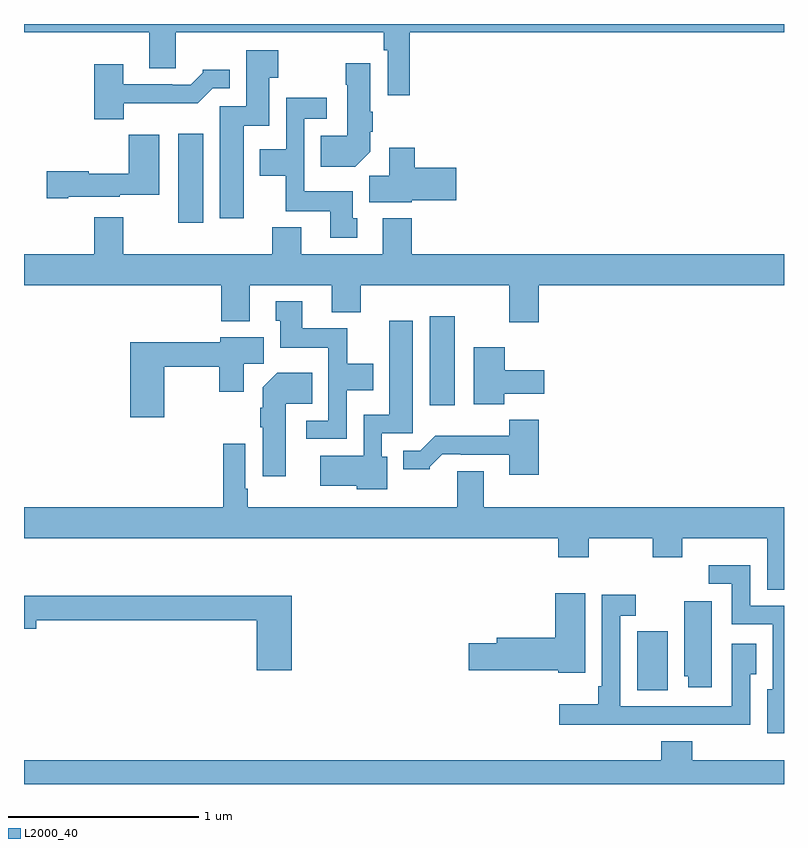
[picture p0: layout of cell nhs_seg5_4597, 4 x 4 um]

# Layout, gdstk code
import gdstk
lib = gdstk.Library(unit=1e-6, precision=1e-09)
def R(c, l, rs):  # rectangles x0, y0, x1, y1
    for r in rs: c.add(gdstk.rectangle(r[:2], r[2:], *l))
def P(c, l, *ps):  # polygons
    for p in ps: c.add(gdstk.Polygon(p, *l))
L2000_40 = (2000, 40)

nhs_seg5_4597 = lib.new_cell('nhs_seg5_4597')
R(nhs_seg5_4597, L2000_40, [(384.227,857.293,384.388,857.604), (383.135,858.792,383.266,859.261), (381.812,859.752,381.943,860.221)])
P(nhs_seg5_4597, L2000_40, [(383.03,860.756),(385,860.756),(385,860.799),(381,860.799),(381,860.756),(381.659,860.756),(381.659,860.566),(381.799,860.566),(381.799,860.756),(382.894,860.756),(382.894,860.66),(382.914,860.66),(382.914,860.424),(383.03,860.424)],
  [(382.156,860.264),(382.291,860.264),(382.291,860.515),(382.338,860.515),(382.338,860.662),(382.169,860.662),(382.169,860.367),(382.031,860.367),(382.031,859.776),(382.156,859.776)],
  [(382.822,860.126),(382.822,860.233),(382.835,860.233),(382.835,860.336),(382.822,860.336),(382.822,860.593),(382.693,860.593),(382.693,860.48),(382.7,860.48),(382.7,860.212),(382.561,860.212),(382.561,860.048),(382.744,860.048)],
  [(381.526,860.382),(381.915,860.382),(381.993,860.46),(382.084,860.46),(382.084,860.557),(381.942,860.557),(381.942,860.542),(381.878,860.478),(381.779,860.478),(381.779,860.481),(381.523,860.481),(381.523,860.587),(381.371,860.587),(381.371,860.297),(381.526,860.297)],
  [(382.753,859.776),(382.729,859.776),(382.729,859.918),(382.476,859.918),(382.476,860.301),(382.594,860.301),(382.594,860.41),(382.38,860.41),(382.38,860.14),(382.241,860.14),(382.241,860),(382.378,860),(382.378,859.814),(382.613,859.814),(382.613,859.674),(382.753,859.674)],
  [(381.232,859.889),(381.504,859.889),(381.504,859.901),(381.712,859.901),(381.712,860.215),(381.55,860.215),(381.55,860.011),(381.342,860.011),(381.342,860.024),(381.12,860.024),(381.12,859.882),(381.232,859.882)],
  [(383.04,859.871),(383.275,859.871),(383.275,860.042),(383.057,860.042),(383.057,860.149),(382.922,860.149),(382.922,860),(382.817,860),(382.817,859.862),(383.04,859.862)],
  [(383.708,859.424),(385,859.424),(385,859.588),(383.042,859.588),(383.042,859.777),(382.889,859.777),(382.889,859.588),(382.459,859.588),(382.459,859.729),(382.307,859.729),(382.307,859.588),(381.523,859.588),(381.523,859.783),(381.371,859.783),(381.371,859.588),(381,859.588),(381,859.424),(382.037,859.424),(382.037,859.235),(382.189,859.235),(382.189,859.424),(382.619,859.424),(382.619,859.283),(382.772,859.283),(382.772,859.424),(383.555,859.424),(383.555,859.23),(383.708,859.23)],
  [(382.698,858.872),(382.837,858.872),(382.837,859.012),(382.701,859.012),(382.701,859.198),(382.465,859.198),(382.465,859.339),(382.325,859.339),(382.325,859.236),(382.349,859.236),(382.349,859.094),(382.602,859.094),(382.602,858.711),(382.485,858.711),(382.485,858.615),(382.698,858.615)],
  [(382.912,858.522),(382.884,858.522),(382.884,858.645),(383.047,858.645),(383.047,859.237),(382.922,859.237),(382.922,858.742),(382.788,858.742),(382.788,858.526),(382.56,858.526),(382.56,858.368),(382.752,858.368),(382.752,858.35),(382.912,858.35)],
  [(381.738,858.994),(382.027,858.994),(382.027,858.864),(382.156,858.864),(382.156,859.012),(382.261,859.012),(382.261,859.15),(382.034,859.15),(382.034,859.123),(381.56,859.123),(381.56,858.729),(381.738,858.729)],
  [(383.528,858.854),(383.737,858.854),(383.737,858.976),(383.53,858.976),(383.53,859.099),(383.366,859.099),(383.366,858.797),(383.528,858.797)],
  [(382.378,858.8),(382.517,858.8),(382.517,858.964),(382.334,858.964),(382.256,858.886),(382.256,858.779),(382.244,858.779),(382.244,858.676),(382.256,858.676),(382.256,858.42),(382.378,858.42)],
  [(383.708,858.715),(383.553,858.715),(383.553,858.631),(383.164,858.631),(383.085,858.552),(382.997,858.552),(382.997,858.455),(383.136,858.455),(383.136,858.47),(383.2,858.534),(383.299,858.534),(383.299,858.531),(383.555,858.531),(383.555,858.426),(383.708,858.426)],
  [(385,858.256),(383.419,858.256),(383.419,858.446),(383.279,858.446),(383.279,858.256),(382.177,858.256),(382.177,858.352),(382.164,858.352),(382.164,858.589),(382.048,858.589),(382.048,858.256),(381,858.256),(381,858.092),(383.813,858.092),(383.813,857.993),(383.973,857.993),(383.973,858.092),(384.31,858.092),(384.31,857.993),(384.465,857.993),(384.465,858.092),(384.911,858.092),(384.911,857.821),(385,857.821)],
  [(385,857.736),(384.822,857.736),(384.822,857.95),(384.603,857.95),(384.603,857.853),(384.726,857.853),(384.726,857.64),(384.941,857.64),(384.941,857.299),(384.911,857.299),(384.911,857.067),(385,857.067)],
  [(383.953,857.803),(383.795,857.803),(383.795,857.57),(383.489,857.57),(383.489,857.54),(383.34,857.54),(383.34,857.398),(383.811,857.398),(383.811,857.384),(383.953,857.384)],
  [(384.235,857.112),(384.601,857.112),(384.601,857.111),(384.822,857.111),(384.822,857.377),(384.853,857.377),(384.853,857.536),(384.726,857.536),(384.726,857.208),(384.138,857.208),(384.138,857.685),(384.22,857.685),(384.22,857.794),(384.042,857.794),(384.042,857.314),(384.022,857.314),(384.022,857.218),(383.817,857.218),(383.817,857.111),(384.235,857.111)],
  [(382.409,857.791),(381,857.791),(381,857.615),(381.064,857.615),(381.064,857.662),(382.226,857.662),(382.226,857.397),(382.409,857.397)],
  [(384.619,857.761),(384.476,857.761),(384.476,857.367),(384.497,857.367),(384.497,857.307),(384.619,857.307)],
  [(385,856.924),(384.518,856.924),(384.518,857.023),(384.353,857.023),(384.353,856.924),(381,856.924),(381,856.799),(385,856.799)])

lib.write_gds('nhs_seg5_4597.gds')
